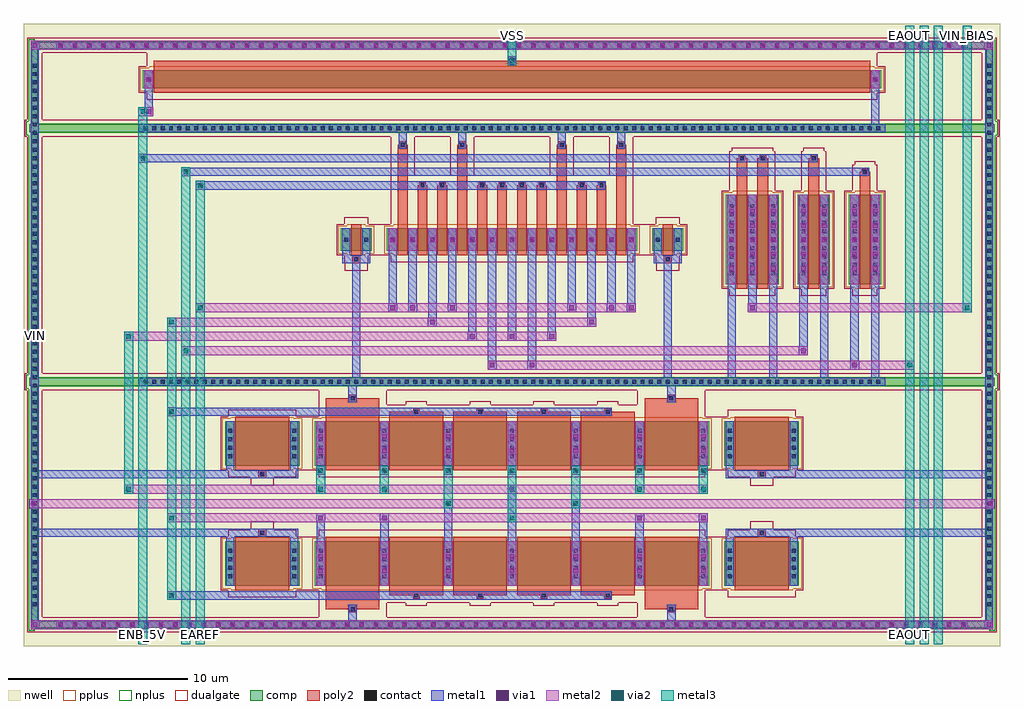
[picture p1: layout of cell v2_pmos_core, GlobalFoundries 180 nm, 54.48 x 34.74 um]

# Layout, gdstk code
import gdstk
lib = gdstk.Library(unit=1e-6, precision=1e-09)
def R(c, l, rs):  # rectangles x0, y0, x1, y1
    for r in rs: c.add(gdstk.rectangle(r[:2], r[2:], *l))
def A(c, l, x, y, w, h, nx, ny, dx, dy):  # array of equal rectangles
    R(c, l, [(x+i*dx, y+j*dy, x+i*dx+w, y+j*dy+h) for i in range(nx) for j in range(ny)])
nwell = (21, 0)
comp = (22, 0)
poly2 = (30, 0)
pplus = (31, 0)
nplus = (32, 0)
contact = (33, 0)
metal1 = (34, 0)
via1 = (35, 0)
metal2 = (36, 0)
via2 = (38, 0)
metal3 = (42, 0)
dualgate = (55, 0)

v2_pmos_core = lib.new_cell('v2_pmos_core')
R(v2_pmos_core, nwell, [(-27.24,-1.39,27.24,33.35)])
R(v2_pmos_core, comp, [(-26.82,-0.365,26.82,-0.005), (-26.82,-0.005,-26.46,13.14), (26.46,-0.005,26.82,13.14), (-16.02,1.97,-11.86,4.47), (-11,1.97,11,4.47), (11.86,1.97,16.02,4.47), (-16.02,8.67,-11.86,11.17), (-11,8.67,11,11.17), (11.86,8.67,16.02,11.17), (-26.96,13.14,26.96,13.6), (-26.82,13.6,-26.46,27.29), (26.46,13.6,26.82,27.29), (11.94,18.8,14.9,23.8), (15.95,18.8,17.75,23.8), (18.8,18.8,20.6,23.8), (-9.55,20.675,-7.84,21.925), (-6.98,20.675,6.98,21.925), (7.84,20.675,9.55,21.925), (-26.96,27.29,26.96,27.75), (-26.82,27.75,-26.46,31.965), (26.46,27.75,26.82,31.965), (-20.6,29.75,20.6,30.75), (-26.82,31.965,26.82,32.325)])
A(v2_pmos_core, poly2, -5.52, 1.26, 0.36, 0.18, 4, 2, 3.56, 10.44)
A(v2_pmos_core, poly2, -6.84, 1.44, 3, 3.27, 4, 2, 3.56, 6.99)
A(v2_pmos_core, poly2, -1.94, 20.435, 0.55, 3.895, 4, 1, 1.11, 0)
A(v2_pmos_core, poly2, -1.845, 24.33, 0.36, 0.18, 4, 1, 1.11, 0)
R(v2_pmos_core, poly2, [(-9.08,0.5,-8.72,0.68), (8.72,0.5,9.08,0.68), (-10.4,0.68,-7.4,4.71), (7.4,0.68,10.4,4.71), (-15.44,1.73,-12.44,4.71), (12.44,1.73,15.44,4.71), (-14.17,4.71,-13.71,5.17), (13.71,4.71,14.17,5.17), (-14.17,7.97,-13.71,8.43), (13.71,7.97,14.17,8.43), (-15.44,8.43,-12.44,11.41), (-10.4,8.43,-7.4,12.46), (7.4,8.43,10.4,12.46), (12.44,8.43,15.44,11.41), (-9.08,12.46,-8.72,12.64), (8.72,12.46,9.08,12.64), (12.54,18.56,13.14,25.85), (13.7,18.56,14.3,25.85), (16.55,18.56,17.15,25.85), (19.4,18.56,20,25.09), (-8.925,19.975,-8.465,20.435), (8.465,19.975,8.925,20.435), (-8.97,20.435,-8.42,22.165), (-6.38,20.435,-5.83,26.61), (-5.27,20.435,-4.72,24.33), (-4.16,20.435,-3.61,24.33), (-3.05,20.435,-2.5,26.61), (2.5,20.435,3.05,26.61), (3.61,20.435,4.16,24.33), (4.72,20.435,5.27,24.33), (5.83,20.435,6.38,26.61), (8.42,20.435,8.97,22.165), (-5.175,24.33,-4.815,24.51), (-4.065,24.33,-3.705,24.51), (3.705,24.33,4.065,24.51), (4.815,24.33,5.175,24.51), (19.52,25.09,19.88,25.27), (12.66,25.85,13.02,26.03), (13.82,25.85,14.18,26.03), (16.67,25.85,17.03,26.03), (-6.285,26.61,-5.925,26.79), (-2.955,26.61,-2.595,26.79), (2.595,26.61,2.955,26.79), (5.925,26.61,6.285,26.79), (-20,29.51,20,31.28), (-0.18,31.28,0.18,31.46)])
R(v2_pmos_core, pplus, [(-15.67,1.74,-12.21,1.81), (-10.63,1.74,10.63,1.81), (12.21,1.74,15.67,1.81), (-16.18,1.81,-11.7,4.63), (-11.16,1.81,11.16,4.63), (11.7,1.81,16.18,4.63), (-15.67,4.63,-12.21,4.7), (-10.63,4.63,10.63,4.7), (12.21,4.63,15.67,4.7), (-15.67,8.44,-12.21,8.51), (-10.63,8.44,10.63,8.51), (12.21,8.44,15.67,8.51), (-16.18,8.51,-11.7,11.33), (-11.16,8.51,11.16,11.33), (11.7,8.51,16.18,11.33), (-15.67,11.33,-12.21,11.4), (-10.63,11.33,10.63,11.4), (12.21,11.33,15.67,11.4), (12.31,18.57,14.53,18.64), (16.32,18.57,17.38,18.64), (19.17,18.57,20.23,18.64), (11.78,18.64,15.06,23.96), (15.79,18.64,17.91,23.96), (18.64,18.64,20.76,23.96), (-9.2,20.445,-8.19,20.515), (-6.61,20.445,6.61,20.515), (8.19,20.445,9.2,20.515), (-9.71,20.515,-7.68,22.085), (-7.14,20.515,7.14,22.085), (7.68,20.515,9.71,22.085), (-9.2,22.085,-8.19,22.155), (-6.61,22.085,6.61,22.155), (8.19,22.085,9.2,22.155), (12.31,23.96,14.53,24.03), (16.32,23.96,17.38,24.03), (19.17,23.96,20.23,24.03), (-20.23,29.52,20.23,29.59), (-20.76,29.59,20.76,30.91), (-20.23,30.91,20.23,30.98)])
R(v2_pmos_core, nplus, [(-26.98,-0.525,-26.65,-0.385), (26.65,-0.525,26.98,-0.385), (-25.41,-0.395,25.41,-0.385), (-26.98,-0.385,26.98,0.015), (-26.98,0.015,-26.44,0.52), (-25.41,0.015,25.41,0.025), (26.44,0.015,26.98,0.52), (-26.98,0.52,-26.43,12.98), (26.43,0.52,26.98,12.98), (-27.12,12.98,-26.43,13.12), (26.43,12.98,27.12,13.12), (-27.12,13.12,27.12,13.62), (-27.12,13.62,-26.43,13.76), (26.43,13.62,27.12,13.76), (-26.98,13.76,-26.43,27.13), (26.43,13.76,26.98,27.13), (-27.12,27.13,-26.43,27.27), (26.43,27.13,27.12,27.27), (-27.12,27.27,27.12,27.77), (-27.12,27.77,-26.43,27.91), (26.43,27.77,27.12,27.91), (-26.98,27.91,-26.43,31.44), (26.43,27.91,26.98,31.44), (-26.98,31.44,-26.44,31.945), (26.44,31.44,26.98,31.945), (-25.41,31.935,25.41,31.945), (-26.98,31.945,26.98,32.345), (-26.98,32.345,-26.65,32.485), (-25.41,32.345,25.41,32.355), (26.65,32.345,26.98,32.485)])
A(v2_pmos_core, contact, -25.31, -0.295, 0.22, 0.22, 64, 2, 0.8, 32.33)
A(v2_pmos_core, contact, -26.75, 0.83, 0.22, 0.22, 1, 65, 0, 0.47)
A(v2_pmos_core, contact, 26.53, 0.83, 0.22, 0.22, 1, 65, 0, 0.47)
A(v2_pmos_core, contact, -5.45, 1.33, 0.22, 0.22, 4, 2, 3.56, 10.26)
A(v2_pmos_core, contact, -15.83, 2.405, 0.22, 0.22, 1, 4, 0, 0.47)
A(v2_pmos_core, contact, -12.27, 2.405, 0.22, 0.22, 1, 4, 0, 0.47)
A(v2_pmos_core, contact, -10.79, 2.405, 0.22, 0.22, 7, 4, 3.56, 0.47)
A(v2_pmos_core, contact, 12.05, 2.405, 0.22, 0.22, 1, 4, 0, 0.47)
A(v2_pmos_core, contact, 15.61, 2.405, 0.22, 0.22, 1, 4, 0, 0.47)
A(v2_pmos_core, contact, -15.83, 9.105, 0.22, 0.22, 1, 4, 0, 0.47)
A(v2_pmos_core, contact, -12.27, 9.105, 0.22, 0.22, 1, 4, 0, 0.47)
A(v2_pmos_core, contact, -10.79, 9.105, 0.22, 0.22, 7, 4, 3.56, 0.47)
A(v2_pmos_core, contact, 12.05, 9.105, 0.22, 0.22, 1, 4, 0, 0.47)
A(v2_pmos_core, contact, 15.61, 9.105, 0.22, 0.22, 1, 4, 0, 0.47)
A(v2_pmos_core, contact, -20.555, 13.26, 0.22, 0.22, 88, 2, 0.47, 14.15)
A(v2_pmos_core, contact, 12.15, 19.31, 0.22, 0.22, 3, 9, 1.16, 0.47)
A(v2_pmos_core, contact, 16.16, 19.31, 0.22, 0.22, 1, 9, 0, 0.47)
A(v2_pmos_core, contact, 17.32, 19.31, 0.22, 0.22, 1, 9, 0, 0.47)
A(v2_pmos_core, contact, 19.01, 19.31, 0.22, 0.22, 1, 9, 0, 0.47)
A(v2_pmos_core, contact, 20.17, 19.31, 0.22, 0.22, 1, 9, 0, 0.47)
A(v2_pmos_core, contact, -6.77, 21.19, 0.22, 0.22, 13, 1, 1.11, 0)
A(v2_pmos_core, contact, -1.775, 24.22, 0.22, 0.22, 4, 1, 1.11, 0)
R(v2_pmos_core, contact, [(-9.01,0.57,-8.79,0.79), (8.79,0.57,9.01,0.79), (-14.05,4.83,-13.83,5.05), (13.83,4.83,14.05,5.05), (-14.05,8.09,-13.83,8.31), (13.83,8.09,14.05,8.31), (-9.01,12.35,-8.79,12.57), (8.79,12.35,9.01,12.57), (-8.805,20.095,-8.585,20.315), (8.585,20.095,8.805,20.315), (-9.36,21.19,-9.14,21.41), (-8.25,21.19,-8.03,21.41), (8.03,21.19,8.25,21.41), (9.14,21.19,9.36,21.41), (-5.105,24.22,-4.885,24.44), (-3.995,24.22,-3.775,24.44), (3.775,24.22,3.995,24.44), (4.885,24.22,5.105,24.44), (19.59,24.98,19.81,25.2), (12.73,25.74,12.95,25.96), (13.89,25.74,14.11,25.96), (16.74,25.74,16.96,25.96), (-6.215,26.5,-5.995,26.72), (-2.885,26.5,-2.665,26.72), (2.665,26.5,2.885,26.72), (5.995,26.5,6.215,26.72), (-20.39,30.14,-20.17,30.36), (20.17,30.14,20.39,30.36), (-0.11,31.17,0.11,31.39)])
A(v2_pmos_core, metal1, -10.91, 1.97, 0.46, 0.6, 7, 2, 3.56, 6.7)
A(v2_pmos_core, metal1, -10.93, 2.57, 0.5, 1.3, 7, 2, 3.56, 6.7)
A(v2_pmos_core, metal1, -10.93, 8.17, 0.5, 0.5, 7, 1, 3.56, 0)
A(v2_pmos_core, metal1, -10.91, 10.57, 0.46, 0.6, 7, 1, 3.56, 0)
A(v2_pmos_core, metal1, 14.35, 13.6, 0.46, 5.85, 3, 1, 2.85, 0)
A(v2_pmos_core, metal1, -2.47, 15.65, 0.5, 0.5, 3, 1, 2.22, 0)
A(v2_pmos_core, metal1, -2.45, 16.15, 0.46, 4.9, 3, 1, 2.22, 0)
A(v2_pmos_core, metal1, 12.01, 19.45, 0.5, 3.7, 3, 1, 1.16, 0)
A(v2_pmos_core, metal1, -6.91, 21.05, 0.5, 0.5, 13, 1, 1.11, 0)
A(v2_pmos_core, metal1, -6.89, 21.55, 0.46, 0.375, 13, 1, 1.11, 0)
A(v2_pmos_core, metal1, 12.03, 23.15, 0.46, 0.65, 3, 1, 1.16, 0)
R(v2_pmos_core, metal1, [(-26.87,-0.435,-26.37,0.065), (-25.45,-0.435,25.45,0.065), (26.37,-0.435,26.87,0.065), (-26.87,0.065,-26.41,4.71), (-9.13,0.065,-8.67,0.91), (8.67,0.065,9.13,0.91), (26.41,0.065,26.87,4.71), (-19.25,1.19,-18.75,1.21), (-19.25,1.21,5.57,1.67), (-19.25,1.67,-18.75,1.69), (-15.95,1.97,-15.49,4.71), (-12.39,1.97,-11.93,4.71), (11.93,1.97,12.39,4.71), (15.49,1.97,15.95,4.71), (-10.91,3.87,-10.45,5.52), (-7.35,3.87,-6.89,5.52), (-3.79,3.87,-3.33,6.32), (-0.23,3.87,0.23,7.12), (3.33,3.87,3.79,6.32), (6.89,3.87,7.35,5.52), (10.45,3.87,10.91,5.52), (-26.87,4.71,-11.93,5.17), (11.93,4.71,26.87,5.17), (-26.87,5.17,-26.41,6.32), (26.41,5.17,26.87,6.32), (-10.93,5.52,-10.43,6.02), (-7.37,5.52,-6.87,6.02), (6.87,5.52,7.37,6.02), (10.43,5.52,10.93,6.02), (-26.96,6.32,-26.41,6.82), (-3.81,6.32,-3.31,6.82), (3.31,6.32,3.81,6.82), (26.41,6.32,26.96,6.82), (-26.87,6.82,-26.41,7.97), (26.41,6.82,26.87,7.97), (-0.25,7.12,0.25,7.62), (-26.87,7.97,-11.93,8.43), (11.93,7.97,26.87,8.43), (-26.87,8.43,-26.41,31.895), (-15.95,8.43,-15.49,11.17), (-12.39,8.43,-11.93,11.17), (11.93,8.43,12.39,11.17), (15.49,8.43,15.95,11.17), (26.41,8.43,26.87,31.895), (-19.25,11.45,-18.75,11.47), (-19.25,11.47,5.57,11.93), (-19.25,11.93,-18.75,11.95), (-9.13,12.23,-8.67,13.14), (8.67,12.23,9.13,13.14), (-20.83,13.14,20.83,13.6), (-8.925,13.6,-8.465,19.975), (8.465,13.6,8.925,19.975), (12.03,13.6,12.49,19.45), (-1.36,14.05,-0.86,14.55), (0.86,14.05,1.36,14.55), (18.87,14.05,19.37,14.55), (-1.34,14.55,-0.88,21.05), (0.88,14.55,1.34,21.05), (18.89,14.55,19.35,19.45), (16.02,14.85,16.52,15.35), (16.04,15.35,16.5,19.45), (-4.69,16.45,-4.19,16.95), (4.19,16.45,4.69,16.95), (-4.67,16.95,-4.21,21.05), (4.21,16.95,4.67,21.05), (-6.91,17.25,-6.41,17.75), (-5.8,17.25,-5.3,17.75), (-3.58,17.25,-3.08,17.75), (3.08,17.25,3.58,17.75), (5.3,17.25,5.8,17.75), (6.41,17.25,6.91,17.75), (13.17,17.25,13.67,17.75), (-6.89,17.75,-6.43,21.05), (-5.78,17.75,-5.32,21.05), (-3.56,17.75,-3.1,21.05), (3.1,17.75,3.56,21.05), (5.32,17.75,5.78,21.05), (6.43,17.75,6.89,21.05), (13.19,17.75,13.65,19.45), (16.02,19.45,16.52,23.15), (17.18,19.45,17.68,23.15), (18.87,19.45,19.37,23.15), (20.03,19.45,20.53,23.15), (-9.48,19.975,-7.91,20.435), (7.91,19.975,9.48,20.435), (-9.48,20.435,-9.02,21.925), (-8.37,20.435,-7.91,21.925), (7.91,20.435,8.37,21.925), (9.02,20.435,9.48,21.925), (16.04,23.15,16.5,23.8), (17.2,23.15,17.66,23.8), (18.89,23.15,19.35,23.8), (20.05,23.15,20.51,23.8), (-17.65,24.08,-17.15,24.1), (-17.65,24.1,5.225,24.56), (-17.65,24.56,-17.15,24.58), (-18.45,24.84,-17.95,24.86), (-18.45,24.86,19.93,25.32), (-18.45,25.32,-17.95,25.34), (-20.85,25.6,-20.35,25.62), (-20.85,25.62,17.08,26.08), (-20.85,26.08,-20.35,26.1), (-6.335,26.38,-5.875,27.29), (-3.005,26.38,-2.545,27.29), (2.545,26.38,3.005,27.29), (5.875,26.38,6.335,27.29), (-20.83,27.29,20.83,27.75), (20.05,27.75,20.51,30), (-20.53,28.2,-20.03,28.7), (-20.51,28.7,-20.05,30), (-20.53,30,-20.03,30.5), (20.03,30,20.53,30.5), (-20.51,30.5,-20.05,30.75), (20.05,30.5,20.51,30.75), (-0.25,31.03,0.25,31.53), (-26.87,31.895,-26.37,32.395), (-25.45,31.895,25.45,32.395), (26.37,31.895,26.87,32.395)])
A(v2_pmos_core, via1, -25.33, -0.315, 0.26, 0.26, 64, 2, 0.8, 32.33)
A(v2_pmos_core, via1, -10.81, 2.69, 0.26, 0.26, 7, 2, 3.56, 0.8)
A(v2_pmos_core, via1, -10.81, 8.29, 0.26, 0.26, 7, 2, 3.56, 1.1)
A(v2_pmos_core, via1, -10.81, 10.19, 0.26, 0.26, 7, 1, 3.56, 0)
A(v2_pmos_core, via1, -2.35, 15.77, 0.26, 0.26, 3, 1, 2.22, 0)
A(v2_pmos_core, via1, 12.13, 19.57, 0.26, 0.26, 3, 5, 1.16, 0.8)
A(v2_pmos_core, via1, 16.14, 19.57, 0.26, 0.26, 1, 5, 0, 0.8)
A(v2_pmos_core, via1, 17.3, 19.57, 0.26, 0.26, 1, 5, 0, 0.8)
A(v2_pmos_core, via1, 18.99, 19.57, 0.26, 0.26, 1, 5, 0, 0.8)
A(v2_pmos_core, via1, 20.15, 19.57, 0.26, 0.26, 1, 5, 0, 0.8)
A(v2_pmos_core, via1, -6.79, 21.17, 0.26, 0.26, 13, 1, 1.11, 0)
R(v2_pmos_core, via1, [(-26.75,-0.315,-26.49,-0.055), (26.49,-0.315,26.75,-0.055), (-19.13,1.31,-18.87,1.57), (-10.81,5.64,-10.55,5.9), (-7.25,5.64,-6.99,5.9), (6.99,5.64,7.25,5.9), (10.55,5.64,10.81,5.9), (-26.84,6.44,-26.58,6.7), (-3.69,6.44,-3.43,6.7), (3.43,6.44,3.69,6.7), (26.58,6.44,26.84,6.7), (-0.13,7.24,0.13,7.5), (-19.13,11.57,-18.87,11.83), (-1.24,14.17,-0.98,14.43), (0.98,14.17,1.24,14.43), (18.99,14.17,19.25,14.43), (16.14,14.97,16.4,15.23), (-4.57,16.57,-4.31,16.83), (4.31,16.57,4.57,16.83), (-6.79,17.37,-6.53,17.63), (-5.68,17.37,-5.42,17.63), (-3.46,17.37,-3.2,17.63), (3.2,17.37,3.46,17.63), (5.42,17.37,5.68,17.63), (6.53,17.37,6.79,17.63), (13.29,17.37,13.55,17.63), (-17.53,24.2,-17.27,24.46), (-18.33,24.96,-18.07,25.22), (-20.73,25.72,-20.47,25.98), (-20.41,28.32,-20.15,28.58), (-20.41,30.12,-20.15,30.38), (20.15,30.12,20.41,30.38), (-0.13,31.15,0.13,31.41), (-26.75,32.015,-26.49,32.275), (26.49,32.015,26.75,32.275)])
A(v2_pmos_core, metal2, -10.93, 1.97, 0.5, 2.5, 7, 1, 3.56, 0)
A(v2_pmos_core, metal2, -10.93, 8.17, 0.5, 3, 7, 1, 3.56, 0)
A(v2_pmos_core, metal2, 12.01, 18.8, 0.5, 5, 3, 1, 1.16, 0)
A(v2_pmos_core, metal2, -6.91, 20.675, 0.5, 1.25, 13, 1, 1.11, 0)
R(v2_pmos_core, metal2, [(-26.87,-0.435,26.87,0.065), (-19.25,1.19,-18.75,1.69), (-19.25,5.52,10.93,6.02), (-26.96,6.32,26.96,6.82), (-21.65,7.12,10.93,7.62), (-19.25,11.45,-18.75,11.95), (-1.36,14.05,22.45,14.55), (-18.45,14.85,16.52,15.35), (-21.65,15.65,2.47,16.15), (-19.25,16.45,4.69,16.95), (-17.65,17.25,6.91,17.75), (13.17,17.25,25.65,17.75), (16.02,18.8,16.52,23.8), (17.18,18.8,17.68,23.8), (18.87,18.8,19.37,23.8), (20.03,18.8,20.53,23.8), (-17.65,24.08,-17.15,24.58), (-18.45,24.84,-17.95,25.34), (-20.85,25.6,-20.35,26.1), (-20.85,28.2,-20.03,28.7), (-20.53,29.75,-20.03,30.75), (20.03,29.75,20.53,30.75), (-0.25,31.03,0.25,31.53), (-26.87,31.895,26.87,32.395)])
A(v2_pmos_core, via2, -10.81, 8.29, 0.26, 0.26, 7, 1, 3.56, 0)
R(v2_pmos_core, via2, [(-19.13,1.31,-18.87,1.57), (-19.13,5.64,-18.87,5.9), (-0.13,5.64,0.13,5.9), (-3.69,6.44,-3.43,6.7), (3.43,6.44,3.69,6.7), (-21.53,7.24,-21.27,7.5), (-10.81,7.24,-10.55,7.5), (-7.25,7.24,-6.99,7.5), (6.99,7.24,7.25,7.5), (10.55,7.24,10.81,7.5), (-19.13,11.57,-18.87,11.83), (22.07,14.17,22.33,14.43), (-18.33,14.97,-18.07,15.23), (-21.53,15.77,-21.27,16.03), (-19.13,16.57,-18.87,16.83), (-17.53,17.37,-17.27,17.63), (25.27,17.37,25.53,17.63), (-17.53,24.2,-17.27,24.46), (-18.33,24.96,-18.07,25.22), (-20.73,25.72,-20.47,25.98), (-20.73,28.32,-20.47,28.58), (-0.13,31.15,0.13,31.41)])
A(v2_pmos_core, metal3, 21.95, -1.27, 0.5, 34.5, 3, 1, 0.8, 0)
R(v2_pmos_core, metal3, [(-20.85,-1.27,-20.35,28.7), (-18.45,-1.27,-17.95,25.34), (-17.65,-1.27,-17.15,24.58), (-19.25,1.19,-18.75,16.95), (-0.25,5.52,0.25,8.67), (-3.81,6.32,-3.31,8.67), (3.31,6.32,3.81,8.67), (-21.65,7.12,-21.15,16.15), (-10.93,7.12,-10.43,8.67), (-7.37,7.12,-6.87,8.67), (6.87,7.12,7.37,8.67), (10.43,7.12,10.93,8.67), (25.15,17.25,25.65,33.23), (-0.25,31.03,0.25,32.98)])
A(v2_pmos_core, dualgate, -5.92, 0.86, 1.16, 0.18, 4, 2, 3.56, 11.24)
R(v2_pmos_core, dualgate, [(-27.06,-0.605,27.06,0.235), (-27.06,0.235,-26.22,12.9), (-10.8,0.235,-7,1.04), (7,0.235,10.8,1.04), (26.22,0.235,27.06,12.9), (-10.8,1.04,10.8,1.73), (-15.84,1.33,-12.04,1.73), (12.04,1.33,15.84,1.73), (-16.26,1.73,16.26,4.71), (-15.84,4.71,-12.04,5.11), (-10.8,4.71,10.8,5.11), (12.04,4.71,15.84,5.11), (-14.57,5.11,-13.31,5.57), (13.31,5.11,14.57,5.57), (-14.57,7.57,-13.31,8.03), (13.31,7.57,14.57,8.03), (-15.84,8.03,-12.04,8.43), (-10.8,8.03,10.8,8.43), (12.04,8.03,15.84,8.43), (-16.26,8.43,16.26,11.41), (-15.84,11.41,-12.04,11.81), (-10.8,11.41,10.8,12.1), (12.04,11.41,15.84,11.81), (-10.8,12.1,-7,12.9), (7,12.1,10.8,12.9), (-27.2,12.9,27.2,13.84), (-27.06,13.84,-26.22,27.05), (26.22,13.84,27.06,27.05), (12.14,18.16,14.7,18.56), (16.15,18.16,17.55,18.56), (19,18.16,20.4,18.56), (11.7,18.56,15.14,24.04), (15.71,18.56,17.99,24.04), (18.56,18.56,20.84,24.04), (-9.325,19.575,-8.065,20.035), (8.065,19.575,9.325,20.035), (-9.37,20.035,-8.02,20.435), (-6.78,20.035,6.78,20.435), (8.02,20.035,9.37,20.435), (-9.79,20.435,9.79,22.165), (-9.37,22.165,-8.02,22.565), (-6.78,22.165,6.78,24.91), (8.02,22.165,9.37,22.565), (12.14,24.04,14.7,26.25), (16.15,24.04,17.55,26.25), (19,24.04,20.4,25.49), (-6.78,24.91,-5.43,27.05), (-3.45,24.91,-2.1,27.05), (2.1,24.91,3.45,27.05), (5.43,24.91,6.78,27.05), (19.12,25.49,20.28,25.67), (12.26,26.25,14.58,26.43), (16.27,26.25,17.43,26.43), (-27.2,27.05,27.2,27.99), (-27.06,27.99,-26.22,31.725), (26.22,27.99,27.06,31.725), (-20.4,29.11,20.4,29.51), (-20.84,29.51,20.84,30.99), (-20.4,30.99,20.4,31.725), (-27.06,31.725,27.06,32.565)])
v2_pmos_core.add(gdstk.Label('EAOUT', (22.2,32.68), layer=42, texttype=10))
v2_pmos_core.add(gdstk.Label('EAOUT', (22.2,-0.72), layer=42, texttype=10))
v2_pmos_core.add(gdstk.Label('EAREF', (-17.4,-0.72), layer=42, texttype=10))
v2_pmos_core.add(gdstk.Label('ENB_5V', (-20.6,-0.72), layer=42, texttype=10))
v2_pmos_core.add(gdstk.Label('EN_5V', (-18.2,-0.72), layer=42, texttype=10))
v2_pmos_core.add(gdstk.Label('VIN_BIAS', (25.4,32.68), layer=42, texttype=10))
v2_pmos_core.add(gdstk.Label('VOUT', (23,32.68), layer=42, texttype=10))
v2_pmos_core.add(gdstk.Label('VOUT', (23,-0.72), layer=42, texttype=10))
v2_pmos_core.add(gdstk.Label('VREF', (23.8,32.68), layer=42, texttype=10))
v2_pmos_core.add(gdstk.Label('VREF', (23.8,-0.72), layer=42, texttype=10))
v2_pmos_core.add(gdstk.Label('VSS', (0,32.68), layer=42, texttype=10))
v2_pmos_core.add(gdstk.Label('VIN', (-26.61,15.98), layer=34, texttype=10))

lib.write_gds('v2_pmos_core.gds')
